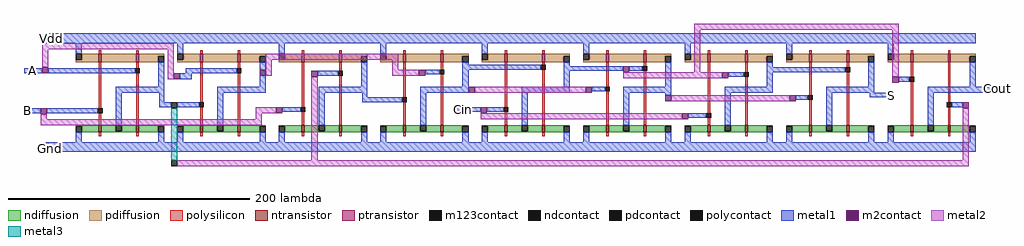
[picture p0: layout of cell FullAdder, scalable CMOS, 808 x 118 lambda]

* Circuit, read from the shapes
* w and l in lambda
.subckt FullAdder A B Cin Cout Gnd S Vdd
M1 2NOR_1/A B Gnd VSUBS nfet w=6 l=2
M2 Gnd A 2NOR_1/A VSUBS nfet w=6 l=2
M3 2NOR_3/B 2NOR_1/A Gnd VSUBS nfet w=6 l=2
M4 Gnd A 2NOR_3/B VSUBS nfet w=6 l=2
M5 2NOR_3/A B Gnd VSUBS nfet w=6 l=2
M6 Gnd 2NOR_1/A 2NOR_3/A VSUBS nfet w=6 l=2
M7 2NOR_5/A 2NOR_3/A Gnd VSUBS nfet w=6 l=2
M8 Gnd 2NOR_3/B 2NOR_5/A VSUBS nfet w=6 l=2
M9 2NOR_8/A Cin Gnd VSUBS nfet w=6 l=2
M10 Gnd 2NOR_5/A 2NOR_8/A VSUBS nfet w=6 l=2
M11 2NOR_7/A 2NOR_5/A Gnd VSUBS nfet w=6 l=2
M12 Gnd 2NOR_8/A 2NOR_7/A VSUBS nfet w=6 l=2
M13 2NOR_7/B Cin Gnd VSUBS nfet w=6 l=2
M14 Gnd 2NOR_8/A 2NOR_7/B VSUBS nfet w=6 l=2
M15 S 2NOR_7/A Gnd VSUBS nfet w=6 l=2
M16 Gnd 2NOR_7/B S VSUBS nfet w=6 l=2
M17 Cout 2NOR_8/A Gnd VSUBS nfet w=6 l=2
M18 Gnd 2NOR_1/A Cout VSUBS nfet w=6 l=2
M19 n1 B Vdd NWELL pfet w=7 l=2
M20 2NOR_1/A A n1 NWELL pfet w=7 l=2
M21 n2 2NOR_1/A Vdd NWELL pfet w=7 l=2
M22 2NOR_3/B A n2 NWELL pfet w=7 l=2
M23 n3 B Vdd NWELL pfet w=7 l=2
M24 2NOR_3/A 2NOR_1/A n3 NWELL pfet w=7 l=2
M25 n4 2NOR_3/A Vdd NWELL pfet w=7 l=2
M26 2NOR_5/A 2NOR_3/B n4 NWELL pfet w=7 l=2
M27 n5 Cin Vdd NWELL pfet w=7 l=2
M28 2NOR_8/A 2NOR_5/A n5 NWELL pfet w=7 l=2
M29 n6 2NOR_5/A Vdd NWELL pfet w=7 l=2
M30 2NOR_7/A 2NOR_8/A n6 NWELL pfet w=7 l=2
M31 n7 Cin Vdd NWELL pfet w=7 l=2
M32 2NOR_7/B 2NOR_8/A n7 NWELL pfet w=7 l=2
M33 n8 2NOR_7/A Vdd NWELL pfet w=7 l=2
M34 S 2NOR_7/B n8 NWELL pfet w=7 l=2
M35 n9 2NOR_8/A Vdd NWELL pfet w=7 l=2
M36 Cout 2NOR_1/A n9 NWELL pfet w=7 l=2
.ends

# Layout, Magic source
magic
tech scmos
<< polycontact >>
rect 38 74 42 78
rect 122 74 126 78
rect 374 77 378 81
rect 206 72 210 76
rect 290 73 294 77
rect 458 76 462 80
rect 626 75 630 79
rect 542 71 546 75
rect 679 67 683 71
rect 427 59 431 63
rect 259 50 263 54
rect 595 52 599 56
rect 91 46 95 50
rect 710 46 714 50
rect 7 41 11 45
rect 175 42 179 46
rect 343 42 347 46
rect 511 37 515 41
<< metal1 >>
rect -36 99 -11 107
rect 62 99 73 107
rect 146 99 157 107
rect 230 99 241 107
rect 314 99 325 107
rect 398 99 409 107
rect 482 99 493 107
rect 566 99 577 107
rect 650 99 661 107
rect -54 74 -39 78
rect -34 74 38 78
rect 80 74 122 78
rect 314 77 374 81
rect 75 69 85 74
rect 189 72 206 76
rect 278 73 290 77
rect 398 76 442 80
rect 447 76 458 80
rect 566 75 626 79
rect 529 71 542 75
rect 670 67 679 71
rect 416 59 427 63
rect 734 58 754 63
rect 58 50 62 58
rect 226 54 230 58
rect 477 56 482 58
rect 226 50 259 54
rect 585 52 595 56
rect 646 54 666 58
rect 58 46 68 50
rect 73 46 91 50
rect 714 46 723 50
rect -54 41 -40 45
rect -35 41 7 45
rect 160 42 175 46
rect 303 42 324 46
rect 329 42 343 46
rect 496 37 511 41
rect -36 9 -11 17
rect 62 9 73 17
rect 146 9 157 17
rect 230 9 241 17
rect 314 9 325 17
rect 398 9 409 17
rect 482 9 493 17
rect 566 9 577 17
rect 650 9 661 17
<< m2contact >>
rect -39 74 -34 79
rect 70 69 75 74
rect 141 72 146 77
rect 184 71 189 76
rect 273 72 278 77
rect 442 75 447 80
rect 524 70 529 75
rect 665 66 670 71
rect 314 58 319 63
rect 411 58 416 63
rect 477 51 482 56
rect 580 51 585 56
rect -40 40 -35 45
rect 155 41 160 46
rect 324 41 329 46
rect 723 45 728 50
rect 491 36 496 41
<< metal2 >>
rect 501 110 670 115
rect -39 94 70 99
rect -39 79 -34 94
rect 65 69 70 94
rect 146 85 256 90
rect 146 72 151 85
rect 251 77 256 85
rect 251 72 273 77
rect 501 75 506 110
rect -40 36 -35 40
rect 138 41 155 46
rect 138 36 143 41
rect -40 31 143 36
rect 184 2 189 71
rect 442 70 524 75
rect 665 71 670 110
rect 319 58 411 63
rect 482 51 580 56
rect 324 36 491 41
rect 723 2 728 45
rect 73 -3 728 2
<< m123contact >>
rect 68 45 73 50
rect 68 -3 73 2
<< metal3 >>
rect 68 2 73 45
use 2NOR  2NOR_0
transform 1 0 9 0 1 82
box -20 -73 53 25
use 2NOR  2NOR_1
transform 1 0 93 0 1 82
box -20 -73 53 25
use 2NOR  2NOR_2
transform 1 0 177 0 1 82
box -20 -73 53 25
use 2NOR  2NOR_3
transform 1 0 261 0 1 82
box -20 -73 53 25
use 2NOR  2NOR_4
transform 1 0 345 0 1 82
box -20 -73 53 25
use 2NOR  2NOR_5
transform 1 0 429 0 1 82
box -20 -73 53 25
use 2NOR  2NOR_6
transform 1 0 513 0 1 82
box -20 -73 53 25
use 2NOR  2NOR_7
transform 1 0 597 0 1 82
box -20 -73 53 25
use 2NOR  2NOR_8
transform 1 0 681 0 1 82
box -20 -73 53 25
<< labels >>
rlabel metal1 -47 76 -47 76 1 A
rlabel metal1 -51 43 -51 43 3 B
rlabel metal1 310 44 310 44 1 Cin
rlabel metal1 664 56 664 56 1 S
rlabel metal1 752 61 752 61 7 Cout
rlabel metal1 -31 103 -31 103 1 Vdd
rlabel metal1 -32 12 -32 12 1 Gnd
<< end >>

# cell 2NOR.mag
magic
tech scmos
<< ntransistor >>
rect -1 -57 1 -51
rect 30 -57 32 -51
<< ptransistor >>
rect -1 1 1 8
rect 30 1 32 8
<< ndiffusion >>
rect -20 -52 -1 -51
rect -15 -57 -1 -52
rect 1 -56 13 -51
rect 18 -56 30 -51
rect 1 -57 30 -56
rect 32 -52 53 -51
rect 32 -57 48 -52
<< pdiffusion >>
rect -15 3 -1 8
rect -20 1 -1 3
rect 1 1 30 8
rect 32 6 53 8
rect 32 1 48 6
<< ndcontact >>
rect -20 -57 -15 -52
rect 13 -56 18 -51
rect 48 -57 53 -52
<< pdcontact >>
rect -20 3 -15 8
rect 48 1 53 6
<< polysilicon >>
rect -1 8 1 11
rect 30 8 32 11
rect -1 -51 1 1
rect 30 -51 32 1
rect -1 -60 1 -57
rect 30 -60 32 -57
<< metal1 >>
rect -20 17 53 25
rect -20 8 -15 17
rect 48 -19 53 1
rect 13 -24 53 -19
rect 13 -51 18 -24
rect -20 -65 -15 -57
rect 48 -65 53 -57
rect -20 -73 53 -65
<< labels >>
rlabel metal1 -17 21 -17 21 4 Vdd
rlabel metal1 -16 -71 -16 -71 2 Gnd
rlabel polysilicon 0 -8 0 -8 1 A
rlabel polysilicon 31 -7 31 -7 1 B
rlabel metal1 41 -22 41 -22 1 Out
<< end >>
